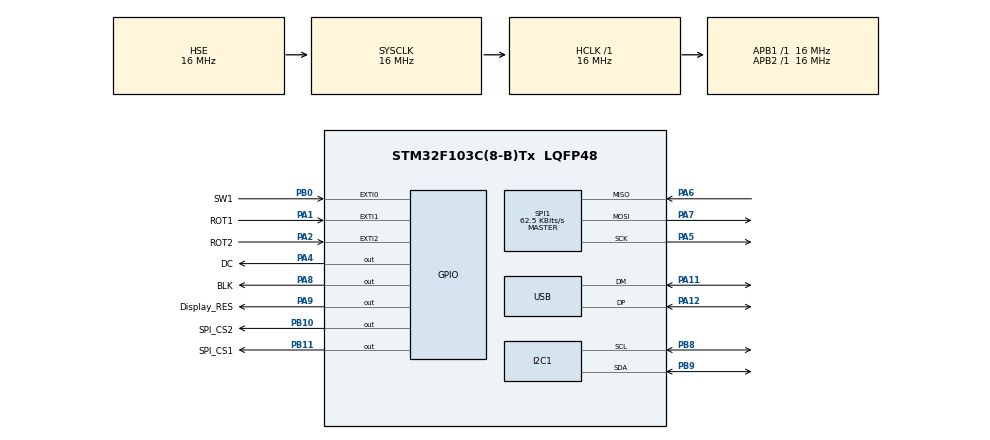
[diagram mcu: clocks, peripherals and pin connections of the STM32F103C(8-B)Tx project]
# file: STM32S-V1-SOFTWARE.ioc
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Mcu.Family=STM32F1
Mcu.Name=STM32F103C(8-B)Tx
Mcu.Package=LQFP48
NVIC.PriorityGroup=NVIC_PRIORITYGROUP_4
NVIC.USB_LP_CAN1_RX0_IRQn=true\:0\:0\:false\:false\:true\:false\:true\:true
PA1.GPIO_Label=ROT1
PA1.GPIO_ModeDefaultEXTI=GPIO_MODE_IT_RISING_FALLING
PA1.Signal=GPXTI1
PA11.Mode=Device
PA11.Signal=USB_DM
PA12.Mode=Device
PA12.Signal=USB_DP
PA13.Mode=Serial_Wire
PA13.Signal=SYS_JTMS-SWDIO
PA14.Mode=Serial_Wire
PA14.Signal=SYS_JTCK-SWCLK
PA2.GPIO_Label=ROT2
PA2.GPIO_ModeDefaultEXTI=GPIO_MODE_IT_RISING_FALLING
PA2.Signal=GPXTI2
PA4.GPIO_Label=DC
PA4.GPIO_Speed=GPIO_SPEED_FREQ_HIGH
PA4.PinState=GPIO_PIN_RESET
PA4.Signal=GPIO_Output
PA5.Mode=Full_Duplex_Master
PA5.Signal=SPI1_SCK
PA6.Mode=Full_Duplex_Master
PA6.Signal=SPI1_MISO
PA7.Mode=Full_Duplex_Master
PA7.Signal=SPI1_MOSI
PA8.GPIO_Label=BLK
PA8.Signal=GPIO_Output
PA9.GPIO_Label=Display_RES
PA9.GPIO_Speed=GPIO_SPEED_FREQ_LOW
PA9.PinState=GPIO_PIN_SET
PA9.Signal=GPIO_Output
PB0.GPIO_Label=SW1
PB0.GPIO_ModeDefaultEXTI=GPIO_MODE_IT_FALLING
PB0.Signal=GPXTI0
PB10.GPIO_Label=SPI_CS2
PB10.GPIO_Speed=GPIO_SPEED_FREQ_HIGH
PB10.PinState=GPIO_PIN_SET
PB10.Signal=GPIO_Output
PB11.GPIO_Label=SPI_CS1
PB11.GPIO_Speed=GPIO_SPEED_FREQ_HIGH
PB11.PinState=GPIO_PIN_SET
PB11.Signal=GPIO_Output
PB3.Signal=SYS_JTDO-TRACESWO
PB8.Mode=I2C
PB8.Signal=I2C1_SCL
PB9.Mode=I2C
PB9.Signal=I2C1_SDA
PD0-OSC_IN.Mode=HSE-External-Oscillator
PD0-OSC_IN.Signal=RCC_OSC_IN
PD1-OSC_OUT.Mode=HSE-External-Oscillator
PD1-OSC_OUT.Signal=RCC_OSC_OUT
ProjectManager.HeapSize=0x200
ProjectManager.StackSize=0x400
ProjectManager.TargetToolchain=STM32CubeIDE
RCC.AHBFreq_Value=16000000
RCC.APB1Freq_Value=16000000
RCC.APB1TimFreq_Value=16000000
RCC.APB2Freq_Value=16000000
RCC.APB2TimFreq_Value=16000000
RCC.HCLKFreq_Value=16000000
RCC.HSE_VALUE=16000000
RCC.PLLMUL=RCC_PLL_MUL3
RCC.SYSCLKFreq_VALUE=16000000
RCC.SYSCLKSource=RCC_SYSCLKSOURCE_HSE
RCC.USBFreq_Value=48000000
SPI1.BaudRatePrescaler=SPI_BAUDRATEPRESCALER_256
SPI1.CalculateBaudRate=62.5 KBits/s
SPI1.Direction=SPI_DIRECTION_2LINES
SPI1.Mode=SPI_MODE_MASTER
SPI1.VirtualType=VM_MASTER
USB_DEVICE.CLASS_NAME_FS=CDC
USB_DEVICE.VirtualMode=Cdc
USB_DEVICE.VirtualModeFS=Cdc_FS
VP_FATFS_VS_Generic.Mode=User_defined
VP_USB_DEVICE_VS_USB_DEVICE_CDC_FS.Mode=CDC_FS
board=custom

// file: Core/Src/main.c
/* USER CODE BEGIN Header */
/**
  ******************************************************************************
  * @file           : main.c
  * @brief          : Main program body
  ******************************************************************************
  * @attention
  *
  * Copyright (c) 2026 STMicroelectronics.
  * All rights reserved.
  *
  * This software is licensed under terms that can be found in the LICENSE file
  * in the root directory of this software component.
  * If no LICENSE file comes with this software, it is provided AS-IS.
  *
  ******************************************************************************
  */
/* USER CODE END Header */
#include "main.h"
#include "fatfs.h"
#include "usb_device.h"

/* USER CODE BEGIN Includes */
#include "st7735.h"
#include <stdio.h>
#include <string.h>
#include <stdarg.h>
#include "usbd_cdc_if.h"
/* USER CODE END Includes */

I2C_HandleTypeDef hi2c1;

SPI_HandleTypeDef hspi1;

/* USER CODE BEGIN PV */
void myprintf(const char *fmt, ...);

/* USER CODE END PV */

void SystemClock_Config(void);
static void MX_GPIO_Init(void);
static void MX_I2C1_Init(void);
static void MX_SPI1_Init(void);
/* USER CODE BEGIN PFP */
void startup(void);
void read_sensor(void);
void sleep(void);
void update_display(void);
void sdcard_write(void);

/* USER CODE END PFP */

/* USER CODE BEGIN 0 */
uint32_t last_activity_time = 0;
uint8_t current_state = 0; // 0: Menu, 1: Temp, 2: Hum, 3: Light
uint8_t menu_selection = 0;
uint32_t last_interrupt_time = 0;

float current_temp = 0.0f;
float current_hum = 0.0f;
float current_light = 0.0f;

void myprintf(const char *fmt, ...) {
  static char buffer[256];
  va_list args;
  va_start(args, fmt);
  vsnprintf(buffer, sizeof(buffer), fmt, args);
  va_end(args);

  int len = strlen(buffer);
  CDC_Transmit_FS((uint8_t*)buffer, len);

}
/* USER CODE END 0 */

int main(void)
{

  /* MCU Configuration--------------------------------------------------------*/

  /* Reset of all peripherals, Initializes the Flash interface and the Systick. */
  HAL_Init();

  /* Configure the system clock */
  SystemClock_Config();

  /* Initialize all configured peripherals */
  MX_GPIO_Init();
  MX_I2C1_Init();
  MX_SPI1_Init();
  MX_FATFS_Init();
  MX_USB_DEVICE_Init();
  /* USER CODE BEGIN 2 */
  startup();
  last_activity_time = HAL_GetTick();
  uint32_t last_log_time = HAL_GetTick(); // Timer to track SD card writes

  /* USER CODE END 2 */

  /* Infinite loop */
  /* USER CODE BEGIN WHILE */
  while (1)
  {
	  // 1. Check for 2-minute inactivity timeout (120,000 ms)
	        if ((HAL_GetTick() - last_activity_time) > 120000) {
	            sleep();

	            // --- MCU wakes up and resumes execution here ---
	            // Reset the timer so it doesn't immediately go back to sleep
	            last_activity_time = HAL_GetTick();
	        }

	        // 2. Poll the I2C sensors for data on demand
	        read_sensor();

	        // 3. Update the ST7735 screen based on the current state machine
	        update_display();

	        // 4. Log to SD card every 10 seconds (10,000 ms)
	        if ((HAL_GetTick() - last_log_time) > 10000) {
	                    sdcard_write();
	                    last_log_time = HAL_GetTick(); // Reset the timer
	                }
	        // 4. Small delay to prevent screen flickering and bus overload
	        HAL_Delay(100);
    /* USER CODE END WHILE */

  }
}

void SystemClock_Config(void)
{
  RCC_OscInitTypeDef RCC_OscInitStruct = {0};
  RCC_ClkInitTypeDef RCC_ClkInitStruct = {0};
  RCC_PeriphCLKInitTypeDef PeriphClkInit = {0};

  /** Initializes the RCC Oscillators according to the specified parameters
  * in the RCC_OscInitTypeDef structure.
  */
  RCC_OscInitStruct.OscillatorType = RCC_OSCILLATORTYPE_HSE;
  RCC_OscInitStruct.HSEState = RCC_HSE_ON;
  RCC_OscInitStruct.HSEPredivValue = RCC_HSE_PREDIV_DIV1;
  RCC_OscInitStruct.HSIState = RCC_HSI_ON;
  RCC_OscInitStruct.PLL.PLLState = RCC_PLL_ON;
  RCC_OscInitStruct.PLL.PLLSource = RCC_PLLSOURCE_HSE;
  RCC_OscInitStruct.PLL.PLLMUL = RCC_PLL_MUL3;
  if (HAL_RCC_OscConfig(&RCC_OscInitStruct) != HAL_OK)
  {
    Error_Handler();
  }

  /** Initializes the CPU, AHB and APB buses clocks
  */
  RCC_ClkInitStruct.ClockType = RCC_CLOCKTYPE_HCLK|RCC_CLOCKTYPE_SYSCLK
                              |RCC_CLOCKTYPE_PCLK1|RCC_CLOCKTYPE_PCLK2;
  RCC_ClkInitStruct.SYSCLKSource = RCC_SYSCLKSOURCE_HSE;
  RCC_ClkInitStruct.AHBCLKDivider = RCC_SYSCLK_DIV1;
  RCC_ClkInitStruct.APB1CLKDivider = RCC_HCLK_DIV1;
  RCC_ClkInitStruct.APB2CLKDivider = RCC_HCLK_DIV1;

  if (HAL_RCC_ClockConfig(&RCC_ClkInitStruct, FLASH_LATENCY_0) != HAL_OK)
  {
    Error_Handler();
  }
  PeriphClkInit.PeriphClockSelection = RCC_PERIPHCLK_USB;
  PeriphClkInit.UsbClockSelection = RCC_USBCLKSOURCE_PLL;
  if (HAL_RCCEx_PeriphCLKConfig(&PeriphClkInit) != HAL_OK)
  {
    Error_Handler();
  }
}

static void MX_I2C1_Init(void)
{

  hi2c1.Instance = I2C1;
  hi2c1.Init.ClockSpeed = 100000;
  hi2c1.Init.DutyCycle = I2C_DUTYCYCLE_2;
  hi2c1.Init.OwnAddress1 = 0;
  hi2c1.Init.AddressingMode = I2C_ADDRESSINGMODE_7BIT;
  hi2c1.Init.DualAddressMode = I2C_DUALADDRESS_DISABLE;
  hi2c1.Init.OwnAddress2 = 0;
  hi2c1.Init.GeneralCallMode = I2C_GENERALCALL_DISABLE;
  hi2c1.Init.NoStretchMode = I2C_NOSTRETCH_DISABLE;
  if (HAL_I2C_Init(&hi2c1) != HAL_OK)
  {
    Error_Handler();
  }

}

static void MX_SPI1_Init(void)
{

  /* SPI1 parameter configuration*/
  hspi1.Instance = SPI1;
  hspi1.Init.Mode = SPI_MODE_MASTER;
  hspi1.Init.Direction = SPI_DIRECTION_2LINES;
  hspi1.Init.DataSize = SPI_DATASIZE_8BIT;
  hspi1.Init.CLKPolarity = SPI_POLARITY_LOW;
  hspi1.Init.CLKPhase = SPI_PHASE_1EDGE;
  hspi1.Init.NSS = SPI_NSS_SOFT;
  hspi1.Init.BaudRatePrescaler = SPI_BAUDRATEPRESCALER_256;
  hspi1.Init.FirstBit = SPI_FIRSTBIT_MSB;
  hspi1.Init.TIMode = SPI_TIMODE_DISABLE;
  hspi1.Init.CRCCalculation = SPI_CRCCALCULATION_DISABLE;
  hspi1.Init.CRCPolynomial = 10;
  if (HAL_SPI_Init(&hspi1) != HAL_OK)
  {
    Error_Handler();
  }

}

static void MX_GPIO_Init(void)
{
  GPIO_InitTypeDef GPIO_InitStruct = {0};

  /* GPIO Ports Clock Enable */
  __HAL_RCC_GPIOC_CLK_ENABLE();
  __HAL_RCC_GPIOD_CLK_ENABLE();
  __HAL_RCC_GPIOA_CLK_ENABLE();
  __HAL_RCC_GPIOB_CLK_ENABLE();

  /*Configure GPIO pin Output Level */
  HAL_GPIO_WritePin(GPIOA, DC_Pin|BLK_Pin, GPIO_PIN_RESET);

  /*Configure GPIO pin Output Level */
  HAL_GPIO_WritePin(GPIOB, SPI_CS2_Pin|SPI_CS1_Pin, GPIO_PIN_SET);

  /*Configure GPIO pin Output Level */
  HAL_GPIO_WritePin(Display_RES_GPIO_Port, Display_RES_Pin, GPIO_PIN_SET);

  /*Configure GPIO pins : PC13 PC14 PC15 */
  GPIO_InitStruct.Pin = GPIO_PIN_13|GPIO_PIN_14|GPIO_PIN_15;
  GPIO_InitStruct.Mode = GPIO_MODE_ANALOG;
  HAL_GPIO_Init(GPIOC, &GPIO_InitStruct);

  /*Configure GPIO pins : PA0 PA3 PA10 PA15 */
  GPIO_InitStruct.Pin = GPIO_PIN_0|GPIO_PIN_3|GPIO_PIN_10|GPIO_PIN_15;
  GPIO_InitStruct.Mode = GPIO_MODE_ANALOG;
  HAL_GPIO_Init(GPIOA, &GPIO_InitStruct);

  /*Configure GPIO pins : ROT1_Pin ROT2_Pin */
  GPIO_InitStruct.Pin = ROT1_Pin|ROT2_Pin;
  GPIO_InitStruct.Mode = GPIO_MODE_IT_RISING_FALLING;
  GPIO_InitStruct.Pull = GPIO_NOPULL;
  HAL_GPIO_Init(GPIOA, &GPIO_InitStruct);

  /*Configure GPIO pin : DC_Pin */
  GPIO_InitStruct.Pin = DC_Pin;
  GPIO_InitStruct.Mode = GPIO_MODE_OUTPUT_PP;
  GPIO_InitStruct.Pull = GPIO_NOPULL;
  GPIO_InitStruct.Speed = GPIO_SPEED_FREQ_HIGH;
  HAL_GPIO_Init(DC_GPIO_Port, &GPIO_InitStruct);

  /*Configure GPIO pin : SW1_Pin */
  GPIO_InitStruct.Pin = SW1_Pin;
  GPIO_InitStruct.Mode = GPIO_MODE_IT_FALLING;
  GPIO_InitStruct.Pull = GPIO_NOPULL;
  HAL_GPIO_Init(SW1_GPIO_Port, &GPIO_InitStruct);

  /*Configure GPIO pins : PB1 PB2 PB12 PB13
                           PB14 PB15 PB4 PB5
                           PB6 PB7 */
  GPIO_InitStruct.Pin = GPIO_PIN_1|GPIO_PIN_2|GPIO_PIN_12|GPIO_PIN_13
                          |GPIO_PIN_14|GPIO_PIN_15|GPIO_PIN_4|GPIO_PIN_5
                          |GPIO_PIN_6|GPIO_PIN_7;
  GPIO_InitStruct.Mode = GPIO_MODE_ANALOG;
  HAL_GPIO_Init(GPIOB, &GPIO_InitStruct);

  /*Configure GPIO pins : SPI_CS2_Pin SPI_CS1_Pin */
  GPIO_InitStruct.Pin = SPI_CS2_Pin|SPI_CS1_Pin;
  GPIO_InitStruct.Mode = GPIO_MODE_OUTPUT_PP;
  GPIO_InitStruct.Pull = GPIO_NOPULL;
  GPIO_InitStruct.Speed = GPIO_SPEED_FREQ_HIGH;
  HAL_GPIO_Init(GPIOB, &GPIO_InitStruct);

  /*Configure GPIO pins : BLK_Pin Display_RES_Pin */
  GPIO_InitStruct.Pin = BLK_Pin|Display_RES_Pin;
  GPIO_InitStruct.Mode = GPIO_MODE_OUTPUT_PP;
  GPIO_InitStruct.Pull = GPIO_NOPULL;
  GPIO_InitStruct.Speed = GPIO_SPEED_FREQ_LOW;
  HAL_GPIO_Init(GPIOA, &GPIO_InitStruct);

}

/* USER CODE BEGIN 4 */

void HAL_GPIO_EXTI_Callback(uint16_t GPIO_Pin)
{
	uint32_t current_time = HAL_GetTick();

	    // Ignore bounces faster than 50ms
	    if ((current_time - last_interrupt_time) > 50) {
	        last_activity_time = current_time;
	        last_interrupt_time = current_time;

	        if (GPIO_Pin == SW1_Pin) {
	            if (current_state == 0) current_state = 1;
	            else current_state = 0;
	            myprintf("Button Clicked! New State: %d\r\n", current_state);
	        }
	        else if (GPIO_Pin == ROT1_Pin) {
	            if (current_state == 0) {
	                if (HAL_GPIO_ReadPin(GPIOA, ROT2_Pin) == GPIO_PIN_SET) {
	                    if (menu_selection < 2) menu_selection++;
	                } else {
	                    if (menu_selection > 0) menu_selection--;
	                }
	                myprintf("Encoder Turned! Selection: %d\r\n", menu_selection);
	            }
	        }
	    }
}

void startup(void){

		// 1. Turn on the display backlight
	    HAL_GPIO_WritePin(BLK_GPIO_Port, BLK_Pin, GPIO_PIN_SET);

	    // 2. HARDWARE RESET: Pull low for 50ms, then pull high for 50ms
	    HAL_GPIO_WritePin(Display_RES_GPIO_Port, ST7735_RES_Pin, GPIO_PIN_RESET);
	    HAL_Delay(50);
	    HAL_GPIO_WritePin(Display_RES_GPIO_Port, ST7735_RES_Pin, GPIO_PIN_SET);
	    HAL_Delay(50);

	    myprintf("\r\n--- SYSTEM BOOTING ---\r\n");
	    myprintf("Initializing TFT Display...\r\n");
	    // 3. Initialize the ST7735 Display
	    ST7735_Init();
	    ST7735_FillScreen(ST7735_BLACK);
	    // 4. Configure the OPT3001 Light Sensor
	    // It boots in shutdown mode. We write 0xC810 to the Configuration Register (0x01)
	    // to set it to Continuous Conversion mode with an 800ms integration time.
	    // Note: Assuming I2C address 0x88 (0x44 shifted left by 1).
	    myprintf("Configuring OPT3001 Light Sensor...\r\n");

	    uint8_t opt_config[3] = {0x01, 0xC8, 0x10};
	    HAL_I2C_Master_Transmit(&hi2c1, 0x8A, opt_config, 3, HAL_MAX_DELAY);
	    myprintf("Light sensor configured successfully!\r\n");
	    // 5. Mount the MicroSD Card
	    // The '1' at the end forces FatFs to mount immediately so we can catch errors early.
	    // (You will uncomment this once FatFs is fully enabled in CubeMX)
	    // if (f_mount(&SDFatFs, "", 1) != FR_OK) {
	    //     // Optional: Draw an "SD Error" message on the screen if it fails
}

void read_sensor(void){
		uint8_t sht_data[6];
	    uint8_t opt_data[2];

	    // Command 0x2400: High repeatability measurement, clock stretching disabled
	    uint8_t sht_cmd[2] = {0x24, 0x00};

	    // =========================================================================
	    // 1. SHT3x-DIS (Temperature & Humidity)
	    // Hardware: ADDR to GND -> 0x44 -> Shifted for HAL: 0x88
	    // =========================================================================

	    // Send the measurement command
	    HAL_I2C_Master_Transmit(&hi2c1, 0x88, sht_cmd, 2, HAL_MAX_DELAY);

	    // Wait for the measurement to complete (High repeatability takes max 15ms)
	    HAL_Delay(15);

	    // Read the 6 bytes: Temp MSB, Temp LSB, Temp CRC, Hum MSB, Hum LSB, Hum CRC
	    if (HAL_I2C_Master_Receive(&hi2c1, 0x88, sht_data, 6, HAL_MAX_DELAY) == HAL_OK) {

	        // Combine MSB and LSB into 16-bit raw integers
	        uint16_t raw_temp = (sht_data[0] << 8) | sht_data[1];
	        uint16_t raw_hum = (sht_data[3] << 8) | sht_data[4];

	        // Apply mathematical conversion formulas
	        current_temp = -45.0f + 175.0f * ((float)raw_temp / 65535.0f);
	        current_hum = 100.0f * ((float)raw_hum / 65535.0f);
	    }else {
	        myprintf("[ERROR] SHT3x Read Failed!\r\n");
	    }

	    // =========================================================================
	    // 2. OPT3001-Q1 (Ambient Light)
	    // Hardware: ADDR to 3.3V -> 0x45 -> Shifted for HAL: 0x8A
	    // =========================================================================

	    // Because we set continuous conversion in startup(), we simply read the Result Register (0x00)
	    if (HAL_I2C_Mem_Read(&hi2c1, 0x8A, 0x00, I2C_MEMADD_SIZE_8BIT, opt_data, 2, HAL_MAX_DELAY) == HAL_OK) {

	        // Combine MSB and LSB into a 16-bit raw integer
	        uint16_t raw_light = (opt_data[0] << 8) | opt_data[1];

	        // Extract the 4-bit Exponent and 12-bit Fractional result using bitwise masking
	        uint16_t exponent = (raw_light & 0xF000) >> 12;
	        uint16_t fractional = raw_light & 0x0FFF;

	        // Calculate final Lux value using bitwise shifting for the 2^E exponent math
	        current_light = 0.01f * (1 << exponent) * fractional;
	    }else {
	        myprintf("[ERROR] OPT3001 Read Failed!\r\n");
	    }
}

void sleep(void){
	// Let us know over USB that it's going to sleep
	    myprintf("\r\nEntering STOP mode.\r\n");
	    HAL_Delay(10); // Crucial: Give the USB buffer a split second to flush out the text before halting clocks!

		// --- 1. PREPARE FOR SLEEP ---
		    // Turn off the display backlight to save battery
		    HAL_GPIO_WritePin(BLK_GPIO_Port, BLK_Pin, GPIO_PIN_RESET);

		    // Suspend the 1ms system timer.
		    // If we don't do this, the SysTick interrupt will wake the MCU up every 1 millisecond!
		    HAL_SuspendTick();

		    // --- 2. ENTER STOP MODE ---
		    // The processor stops executing code exactly at this line.
		    // It will remain asleep here until a hardware interrupt (EXTI) occurs.
		    // Because you configured SW1_Pin and ROT1_Pin as EXTI in CubeMX,
		    // pressing or turning the encoder will automatically wake it up.
		    HAL_PWR_EnterSTOPMode(PWR_LOWPOWERREGULATOR_ON, PWR_STOPENTRY_WFI);

		    // =========================================================
		    //               MCU IS ASLEEP HERE
		    // =========================================================

		    // --- 3. WAKE UP SEQUENCE ---
		    // Code execution resumes here immediately after the EXTI interrupt fires.

		    // STOP mode disables the main oscillator (HSE) and the PLL to save power.
		    // We must reconfigure the clocks before doing anything else, or the MCU will run very slowly.
		    SystemClock_Config();

		    // Resume the 1ms system timer so HAL_Delay() and HAL_GetTick() work again
		    HAL_ResumeTick();

		    // Turn the display backlight back on
		    HAL_GPIO_WritePin(BLK_GPIO_Port, BLK_Pin, GPIO_PIN_SET);

	    // Let us know over USB that it successfully woke up and restored its clocks
	    myprintf("\r\nWoke up! Clocks restored.\r\n");
}

void update_display(void){

	char buffer[32]; // Buffer to hold our formatted text strings

	    if (current_state == 0) {
	        // --- MAIN MENU ---
	        // Highlight the selected option by making it GREEN, others WHITE
	        uint16_t color0 = (menu_selection == 0) ? ST7735_GREEN : ST7735_WHITE;
	        uint16_t color1 = (menu_selection == 1) ? ST7735_GREEN : ST7735_WHITE;
	        uint16_t color2 = (menu_selection == 2) ? ST7735_GREEN : ST7735_WHITE;

	        // Draw the menu text (assuming Font_7x10 exists in your fonts.h)
	        ST7735_WriteString(10, 20, "1. Temperature", Font_7x10, color0, ST7735_BLACK);
	        ST7735_WriteString(10, 40, "2. Humidity   ", Font_7x10, color1, ST7735_BLACK);
	        ST7735_WriteString(10, 60, "3. Light      ", Font_7x10, color2, ST7735_BLACK);

	    } else if (current_state == 1) {
	        // --- DATA VIEW ---
	        // We add extra spaces at the end of the strings to overwrite any leftover pixels
	        // from previous longer numbers, acting as a quick way to clear the line.
	        if (menu_selection == 0) {
	        	int t_int = (int)current_temp;
	        	int t_dec = (int)(current_temp * 100) % 100;
	        	if(t_dec < 0) t_dec = -t_dec; // Handle negative temps
	        	sprintf(buffer, "Temp: %d.%02d C  ", t_int, t_dec);
	            ST7735_WriteString(10, 40, buffer, Font_7x10, ST7735_WHITE, ST7735_BLACK);
	        }
	        else if (menu_selection == 1) {
	        	int h_int = (int)current_hum;
	        	int h_dec = (int)(current_hum * 100) % 100;
	        	sprintf(buffer, "Hum: %d.%02d %%   ", h_int, h_dec);
	            ST7735_WriteString(10, 40, buffer, Font_7x10, ST7735_WHITE, ST7735_BLACK);
	        }
	        else if (menu_selection == 2) {
	        	sprintf(buffer, "Light: %d lx  ", (int)current_light);
	            ST7735_WriteString(10, 40, buffer, Font_7x10, ST7735_WHITE, ST7735_BLACK);
	        }
	    }
}

void sdcard_write(void){
    FATFS FatFs;
    FIL fil;
    FRESULT fres;
    char log_buffer[100]; // Buffer to hold our formatted string
    UINT bytesWrote;

    // 1. Mount the file system
    fres = f_mount(&FatFs, "", 1);
    if (fres != FR_OK) {
        myprintf("SD Mount error: %i\r\n", fres);
        return; // Stop here if mount fails
    }

    // 2. Open the file (FA_OPEN_ALWAYS creates it if it doesn't exist)
    fres = f_open(&fil, "data.txt", FA_WRITE | FA_OPEN_ALWAYS);

    if(fres == FR_OK) {
        // *** THE FIX: Move the "cursor" to the end of the file so we don't overwrite! ***
        f_lseek(&fil, f_size(&fil));

        // 3. Format the sensor data into a text string
        int t_int = (int)current_temp;
        int t_dec = (int)(current_temp * 100) % 100;
        if(t_dec < 0) t_dec = -t_dec;
        int h_int = (int)current_hum;
        int h_dec = (int)(current_hum * 100) % 100;

        sprintf(log_buffer, "Temp: %d.%02d C, Hum: %d.%02d %%, Light: %d lx\r\n", t_int, t_dec, h_int, h_dec, (int)current_light);

        // 4. Write the string to the SD card
        fres = f_write(&fil, log_buffer, strlen(log_buffer), &bytesWrote);

        if(fres == FR_OK) {
            myprintf("Logged to SD: %s", log_buffer); // Echo to USB for debugging
        } else {
            myprintf("SD Write error: %i\r\n", fres);
        }

        // 5. Close the file to finalize and save the data to the silicon
        f_close(&fil);
    } else {
        myprintf("SD Open error: %i\r\n", fres);
    }

    // 6. Unmount the drive (Important to prevent corruption if power is lost)
    f_mount(NULL, "", 0);
}

/* USER CODE END 4 */

void Error_Handler(void)
{
  __disable_irq();
  while (1)
  {
  }
}
